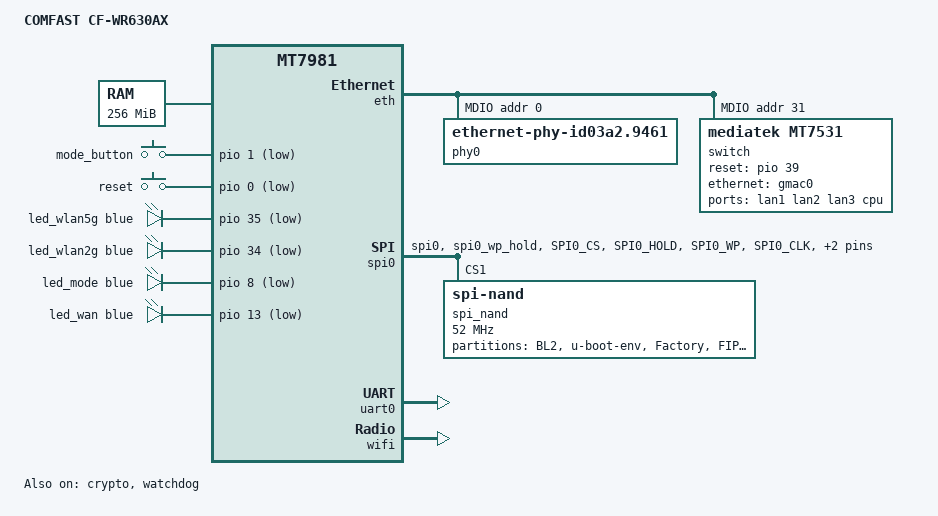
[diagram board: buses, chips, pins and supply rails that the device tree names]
// SPDX-License-Identifier: GPL-2.0-or-later OR MIT

/dts-v1/;
#include "mt7981b.dtsi"

/ {
	model = "COMFAST CF-WR630AX";
	compatible = "comfast,cf-wr630ax", "mediatek,mt7981";

	aliases {
		serial0 = &uart0;
		led-boot = &led_mode;
		led-failsafe = &led_mode;
		led-running = &led_wlan5g;
		led-upgrade = &led_wlan2g;
	};

	chosen {
		bootargs-override = "console=ttyS0,115200n8";
		stdout-path = "serial0:115200n8";
	};

	memory {
		reg = <0 0x40000000 0 0x10000000>; // 256mb
	};

	gpio-keys {
		compatible = "gpio-keys";

		mode_button {
			label = "mode_button";
			linux,code = <KEY_MODE>;
			gpios = <&pio 1 GPIO_ACTIVE_LOW>;
		};

		reset {
			label = "reset";
			linux,code = <KEY_RESTART>;
			gpios = <&pio 0 GPIO_ACTIVE_LOW>;
		};
	};

	leds {
		compatible = "gpio-leds";

		led_wlan5g: wlan5g {
			gpios = <&pio 35 GPIO_ACTIVE_LOW>;
			color = <LED_COLOR_ID_BLUE>;
			function = LED_FUNCTION_STATUS;
		};

		led_wlan2g: wlan2g {
			gpios = <&pio 34 GPIO_ACTIVE_LOW>;
			color = <LED_COLOR_ID_BLUE>;
			function = LED_FUNCTION_STATUS;
		};

		led_mode: mode {
			gpios = <&pio 8 GPIO_ACTIVE_LOW>;
			color = <LED_COLOR_ID_BLUE>;
			function = LED_FUNCTION_STATUS;
		};

		led_wan: wan {
            gpios = <&pio 13 GPIO_ACTIVE_LOW>;
			color = <LED_COLOR_ID_BLUE>;
			function = LED_FUNCTION_STATUS;
        };
	};
};

&eth {
	status = "okay";

	gmac0: mac@0 {
		/* LAN */
		compatible = "mediatek,eth-mac";
		reg = <0>;
		phy-mode = "2500base-x";
		nvmem-cells = <&macaddr_factory_e000 0>;
		nvmem-cell-names = "mac-address";

		fixed-link {
			speed = <2500>;
			full-duplex;
			pause;
		};
	};

	gmac1: mac@1 {
		/* WAN */
		compatible = "mediatek,eth-mac";
		reg = <1>;
		phy-mode = "gmii";
		phy-handle = <&int_gbe_phy>;
		nvmem-cells = <&macaddr_factory_e000 1>;
		nvmem-cell-names = "mac-address";
	};

	mdio: mdio-bus {
		#address-cells = <1>;
		#size-cells = <0>;

		reset-gpios = <&pio 6 GPIO_ACTIVE_LOW>;
		reset-delay-us = <1500000>;
		reset-post-delay-us = <1000000>;

		phy0: ethernet-phy@0 {
			compatible = "ethernet-phy-id03a2.9461";
			reg = <0>;
			phy-mode = "gmii";
		};

		switch@0 {
			compatible = "mediatek,mt7531";
			reg = <31>;
			reset-gpios = <&pio 39 0>;

			ports {
				#address-cells = <1>;
				#size-cells = <0>;

				port@1 {
					reg = <1>;
					label = "lan1";
				};

				port@2 {
					reg = <2>;
					label = "lan2";
				};

				port@3 {
					reg = <3>;
					label = "lan3";
				};

				port@6 {
					reg = <6>;
					label = "cpu";
					ethernet = <&gmac0>;
					phy-mode = "2500base-x";

					fixed-link {
						speed = <2500>;
						full-duplex;
						pause;
					};
				};
			};
		};
	};
};

&crypto {
	status = "okay";
};

&pio {
	spi0_flash_pins: spi0-pins {
		mux {
			function = "spi";
			groups = "spi0", "spi0_wp_hold";
		};
		conf-pu {
			pins = "SPI0_CS", "SPI0_HOLD", "SPI0_WP";
			drive-strength = <MTK_DRIVE_8mA>;
			bias-pull-up = <MTK_PUPD_SET_R1R0_11>;
		};
		conf-pd {
			pins = "SPI0_CLK", "SPI0_MOSI", "SPI0_MISO";
			drive-strength = <MTK_DRIVE_8mA>;
			bias-pull-down = <MTK_PUPD_SET_R1R0_11>;
		};
	};

};

&spi0 {
	pinctrl-names = "default";
	pinctrl-0 = <&spi0_flash_pins>;
	cs-gpios = <0>, <0>;
	#address-cells = <1>;
	#size-cells = <0>;
	status = "okay";
	#address-cells = <1>;
	#size-cells = <0>;

	spi_nand: spi_nand@0 {
		#address-cells = <1>;
		#size-cells = <1>;
		compatible = "spi-nand";
		reg = <1>;
		spi-max-frequency = <52000000>;

		spi-cal-enable;
		spi-cal-mode = "read-data";
		spi-cal-datalen = <7>;
		spi-cal-data = /bits/ 8 <0x53 0x50 0x49 0x4E 0x41 0x4E 0x44>;
		spi-cal-addrlen = <5>;
		spi-cal-addr = /bits/ 32 <0x0 0x0 0x0 0x0 0x0>;

		spi-tx-bus-width = <4>;
		spi-rx-bus-width = <4>;
		mediatek,nmbm;
		mediatek,bmt-max-ratio = <1>;
		mediatek,bmt-max-reserved-blocks = <64>;

		partitions {
			compatible = "fixed-partitions";
			#address-cells = <1>;
			#size-cells = <1>;

			partition@0 {
				label = "BL2";
				reg = <0x00000 0x0100000>;
				read-only;
			};

			partition@100000 {
				label = "u-boot-env";
				reg = <0x0100000 0x0080000>;
				read-only;
			};

			factory: partition@180000 {
				label = "Factory";
				reg = <0x180000 0x0200000>;
				read-only;

				nvmem-layout {
					compatible = "fixed-layout";
					#address-cells = <1>;
					#size-cells = <1>;

					eeprom_factory_0: eeprom@0 {
						reg = <0x0 0x1000>;
					};

					macaddr_factory_e000: macaddr@e000 {
						compatible = "mac-base";
						reg = <0xe000 0x6>;
						#nvmem-cell-cells = <1>;
					};
				};
			};

			partition@380000 {
				label = "FIP";
				reg = <0x380000 0x0200000>;
				read-only;
			};

			partition@580000 {
				label = "ubi";
				reg = <0x580000 0x4000000>;
				compatible = "linux,ubi";
			};
		};
	};
};

&uart0 {
	status = "okay";
};

&watchdog {
	status = "okay";
};

&wifi {
	status = "okay";
	nvmem-cells = <&eeprom_factory_0>;
	nvmem-cell-names = "eeprom";
};

